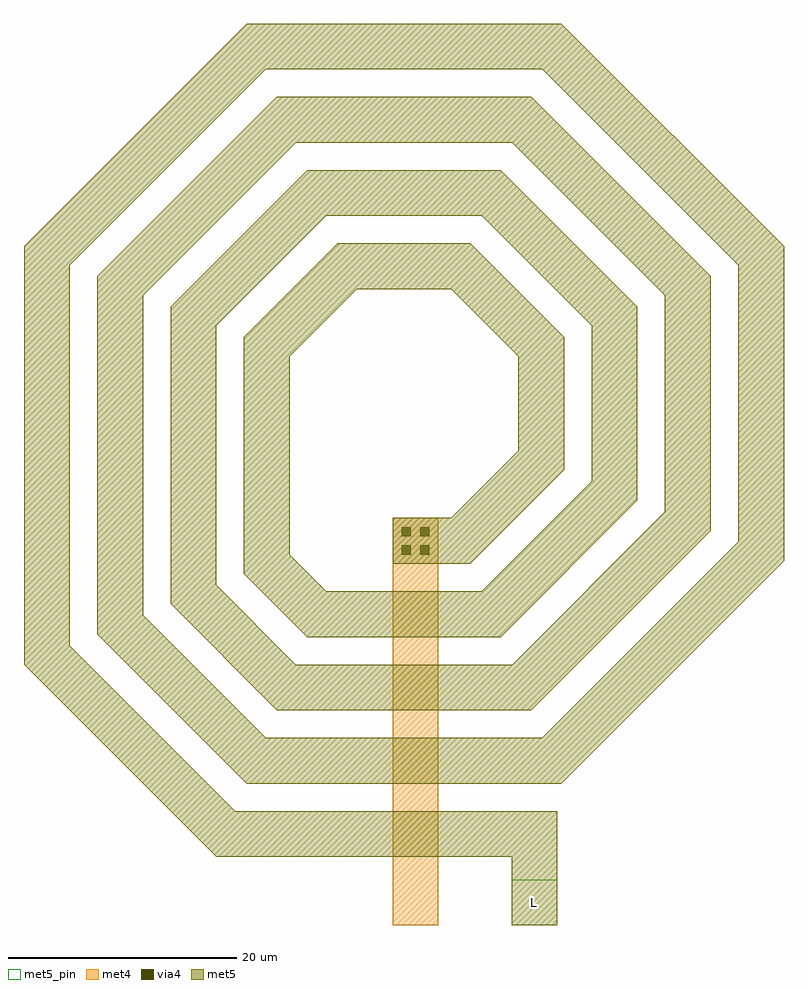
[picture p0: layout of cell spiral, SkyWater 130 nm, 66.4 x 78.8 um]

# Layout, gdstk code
import gdstk
lib = gdstk.Library(unit=1e-6, precision=1e-09)
def R(c, l, rs):  # rectangles x0, y0, x1, y1
    for r in rs: c.add(gdstk.rectangle(r[:2], r[2:], *l))
def P(c, l, *ps):  # polygons
    for p in ps: c.add(gdstk.Polygon(p, *l))
met4 = (71, 20)
via4 = (71, 44)
met5_pin = (72, 16)
met5 = (72, 20)

spiral = lib.new_cell('spiral')
R(spiral, met4, [(-1,-45.6,3,-10), (-0.39,-13.39,2.39,-10.61)])
R(spiral, via4, [(-0.2,-13.2,0.6,-12.4), (1.4,-13.2,2.2,-12.4), (-0.2,-11.6,0.6,-10.8), (1.4,-11.6,2.2,-10.8)])
R(spiral, met5_pin, [(9.4,-45.6,13.4,-41.6)])
R(spiral, met5, [(9.4,-45.6,13.4,-41.6), (-0.51,-13.51,2.51,-10.49)])
P(spiral, met5, [(9.4,-45.6),(9.4,-39.6),(-16.405,-39.6),(-33.2,-22.805),(-33.2,13.755),(-13.755,33.2),(13.755,33.2),(33.2,13.755),(33.2,-13.755),(13.755,-33.2),(-13.755,-33.2),(-26.8,-20.155),(-26.8,11.1),(-11.1,26.8),(11.1,26.8),(26.8,11.1),(26.8,-11.1),(11.1,-26.8),(-11.1,-26.8),(-20.4,-17.5),(-20.4,8.45),(-8.45,20.4),(8.45,20.4),(20.4,8.45),(20.4,-8.45),(8.45,-20.4),(-8.45,-20.4),(-14,-14.85),(-14,5.8),(-5.8,14),(5.8,14),(14,5.8),(14,-5.8),(5.8,-14),(-1,-14),(-1,-10),(4.14,-10),(10,-4.14),(10,4.14),(4.14,10),(-4.14,10),(-10,4.14),(-10,-13.19),(-6.79,-16.4),(6.79,-16.4),(16.4,-6.79),(16.4,6.79),(6.79,16.4),(-6.79,16.4),(-16.4,6.79),(-16.4,-15.84),(-9.44,-22.8),(9.44,-22.8),(22.8,-9.44),(22.8,9.44),(9.44,22.8),(-9.44,22.8),(-22.8,9.44),(-22.8,-18.495),(-12.095,-29.2),(12.095,-29.2),(29.2,-12.095),(29.2,12.095),(12.095,29.2),(-12.095,29.2),(-29.2,12.095),(-29.2,-21.145),(-14.745,-35.6),(13.4,-35.6),(13.4,-45.6)])
spiral.add(gdstk.Label('L', (11.4,-43.6), layer=72, texttype=16))
spiral.add(gdstk.Label('L', (11.4,-43.6), layer=72, texttype=5))

lib.write_gds('spiral.gds')
